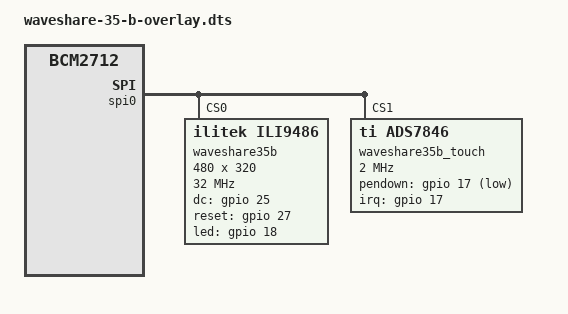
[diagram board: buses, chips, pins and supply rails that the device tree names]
/*
 * Waveshare 3.5" SPI TFT Display (Type B) - ILI9486
 * 480x320 resolution with XPT2046 touch
 */

/dts-v1/;
/plugin/;

/ {
    compatible = "brcm,bcm2712";
    
    fragment@0 {
        target = <&spidev0>;
        __overlay__ {
            status = "disabled";
        };
    };
    
    fragment@1 {
        target = <&spidev1>;
        __overlay__ {
            status = "disabled";
        };
    };
    
    fragment@2 {
        target = <&spi0>;
        __overlay__ {
            status = "okay";
            #address-cells = <1>;
            #size-cells = <0>;
            
            waveshare35b: waveshare35b@0 {
                compatible = "ilitek,ili9486";
                reg = <0>;
                spi-max-frequency = <32000000>;
                
                rotate = <90>;
                bgr;
                fps = <30>;
                buswidth = <8>;
                
                dc-gpios = <&gpio 25 0>;
                reset-gpios = <&gpio 27 0>;
                led-gpios = <&gpio 18 0>;
                
                width = <480>;
                height = <320>;
                
                init = <0x10000b0 0x00
                        0x1000011
                        0x20000ff
                        0x10000d0 0x07 0x42 0x18
                        0x10000d1 0x00 0x07 0x10
                        0x10000d2 0x01 0x02
                        0x10000c0 0x10 0x3b 0x00 0x02 0x11
                        0x10000c5 0x03
                        0x10000c8 0x00 0x32 0x36 0x45 0x06 0x16 0x37 0x75 0x77 0x54 0x0c 0x00
                        0x1000036 0x0a
                        0x100003a 0x55
                        0x10000b4 0x11
                        0x1000029>;
            };
            
            /* XPT2046 Touch Controller */
            waveshare35b_touch: waveshare35b_touch@1 {
                compatible = "ti,ads7846";
                reg = <1>;
                spi-max-frequency = <2000000>;
                
                interrupt-parent = <&gpio>;
                interrupts = <17 2>;
                pendown-gpio = <&gpio 17 1>;
                
                ti,x-plate-ohms = /bits/ 16 <60>;
                ti,pressure-max = /bits/ 16 <255>;
                
                ti,swap-xy;
                ti,x-min = /bits/ 16 <200>;
                ti,x-max = /bits/ 16 <3900>;
                ti,y-min = /bits/ 16 <200>;
                ti,y-max = /bits/ 16 <3900>;
            };
        };
    };
    
    fragment@3 {
        target = <&gpio>;
        __overlay__ {
            waveshare35b_pins: waveshare35b_pins {
                brcm,pins = <17 18 25 27>;
                brcm,function = <0 1 1 1>;
                brcm,pull = <2 0 0 0>;
            };
        };
    };
    
    __overrides__ {
        speed = <&waveshare35b>,"spi-max-frequency:0";
        rotate = <&waveshare35b>,"rotate:0";
        fps = <&waveshare35b>,"fps:0";
        swapxy = <&waveshare35b_touch>,"ti,swap-xy?";
    };
};
